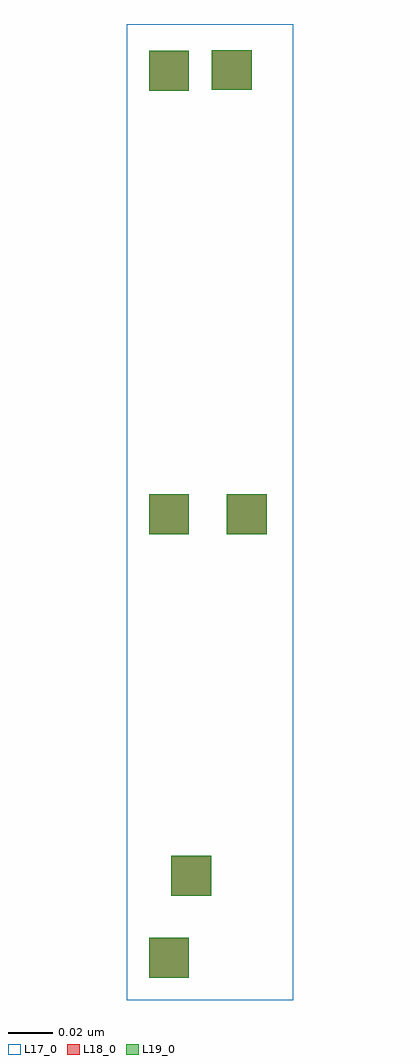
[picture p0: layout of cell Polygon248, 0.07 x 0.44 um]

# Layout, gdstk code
import gdstk
lib = gdstk.Library(unit=1e-6, precision=2.5e-10)
def R(c, l, rs):  # rectangles x0, y0, x1, y1
    for r in rs: c.add(gdstk.rectangle(r[:2], r[2:], *l))
def A(c, l, x, y, w, h, nx, ny, dx, dy):  # array of equal rectangles
    R(c, l, [(x+i*dx, y+j*dy, x+i*dx+w, y+j*dy+h) for i in range(nx) for j in range(ny)])
L17_0 = (17, 0)
L18_0 = (18, 0)
L19_0 = (19, 0)

polygon248 = lib.new_cell('Polygon248')
R(polygon248, L17_0, [(-0.01,-0.01,0.065,0.43)])
A(polygon248, L18_0, 0, 0, 0.018, 0.018, 1, 3, 0, 0.2)
R(polygon248, L18_0, [(0.01,0.037,0.028,0.055), (0.035,0.2,0.053,0.218), (0.0283,0.4002,0.0462,0.4183)])
A(polygon248, L19_0, 0, 0, 0.018, 0.018, 1, 3, 0, 0.2)
R(polygon248, L19_0, [(0.01,0.037,0.028,0.055), (0.035,0.2,0.053,0.218), (0.0283,0.4002,0.0462,0.4183)])

lib.write_gds('Polygon248.gds')
